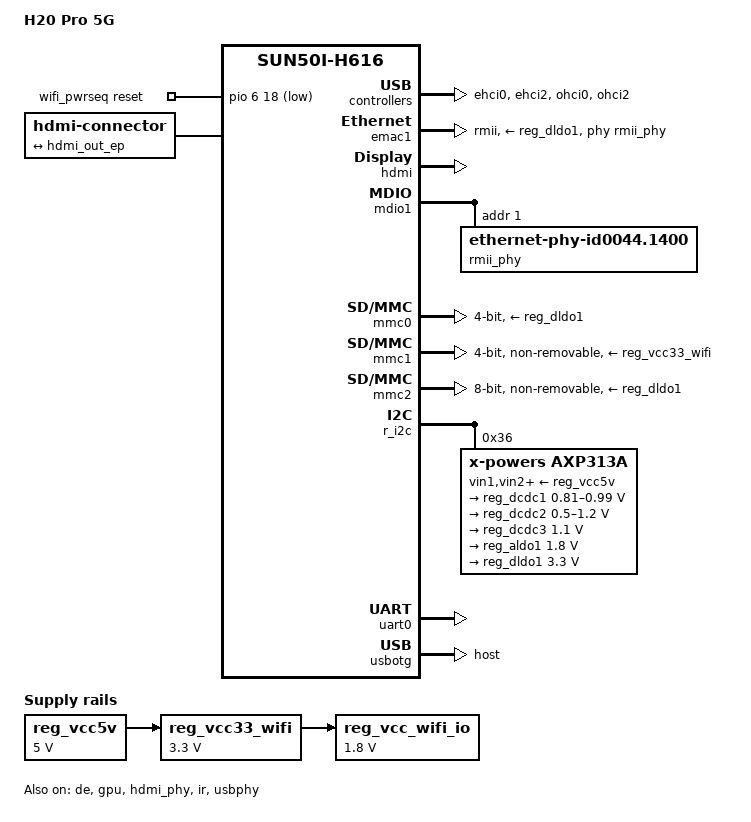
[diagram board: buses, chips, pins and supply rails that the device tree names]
// SPDX-License-Identifier: (GPL-2.0+ OR MIT)
/*
 * Copyright (C) 2024 Armbian
 * H20 Pro 5G Board - Based on Allwinner H616
 */

/dts-v1/;

#include "sun50i-h616.dtsi"
#include "sun50i-h616-cpu-opp.dtsi"
#include <dt-bindings/gpio/gpio.h>
#include <dt-bindings/interrupt-controller/arm-gic.h>
#include <dt-bindings/leds/common.h>

/ {
	model = "H20 Pro 5G";
	compatible = "hechuang,h20-pro-5g", "allwinner,sun50i-h616";

	aliases {
		ethernet0 = &emac1;
		serial0 = &uart0;
	};

	chosen {
		stdout-path = "serial0:115200n8";
	};

	reg_vcc5v: regulator-vcc5v {
		compatible = "regulator-fixed";
		regulator-name = "vcc-5v";
		regulator-min-microvolt = <5000000>;
		regulator-max-microvolt = <5000000>;
		regulator-always-on;
	};

	reg_vcc33_wifi: vcc33-wifi {
		compatible = "regulator-fixed";
		regulator-name = "vcc33-wifi";
		regulator-min-microvolt = <3300000>;
		regulator-max-microvolt = <3300000>;
		regulator-always-on;
		vin-supply = <&reg_vcc5v>;
	};

	reg_vcc_wifi_io: vcc-wifi-io {
		compatible = "regulator-fixed";
		regulator-name = "vcc-wifi-io";
		regulator-min-microvolt = <1800000>;
		regulator-max-microvolt = <1800000>;
		regulator-always-on;
		vin-supply = <&reg_vcc33_wifi>;
	};

	wifi_pwrseq: wifi-pwrseq {
		compatible = "mmc-pwrseq-simple";
		clocks = <&rtc 1>;
		clock-names = "osc32k-out";
		reset-gpios = <&pio 6 18 GPIO_ACTIVE_LOW>; /* PG18 */
		post-power-on-delay-ms = <200>;
	};

	hdmi-connector {
		compatible = "hdmi-connector";
		type = "a";

		port {
			hdmi_con_in: endpoint {
				remote-endpoint = <&hdmi_out_ep>;
			};
		};
	};
};

&cpu0 {
	cpu-supply = <&reg_dcdc2>;
};

&de {
	status = "okay";
};

&ehci0 {
	status = "okay";
};

&ehci2 {
	status = "okay";
};

&emac1 {
	compatible = "allwinner,sun50i-h616-emac", "allwinner,sunxi-gmac";
	syscon = <&syscon 1>;
	reg = <0x05030000 0x10000>, <0x03000034 0x4>;
	reg-names = "gmac1_reg", "ephy_reg";
	clocks = <&ccu CLK_BUS_EMAC1>;
	clock-names = "stmmaceth";
	pinctrl-names = "default";
	pinctrl-0 = <&rmii_pins>;
	phy-mode = "rmii";
	phy-handle = <&rmii_phy>;
	phy-supply = <&reg_dldo1>;
	allwinner,tx-delay-ps = <700>;
	allwinner,rx-delay-ps = <3100>;
	status = "okay";
};

&gpu {
	mali-supply = <&reg_dcdc1>;
	status = "okay";
};

&hdmi {
	hvcc-supply = <&reg_aldo1>;
	status = "okay";
};

&hdmi_phy {
	hvcc-supply = <&reg_aldo1>;
	status = "okay";
};

&hdmi_out {
	hdmi_out_ep: endpoint {
		remote-endpoint = <&hdmi_con_in>;
	};
};

&ir {
	status = "okay";
};

&mdio1 {
	rmii_phy: ethernet-phy@1 {
		compatible = "ethernet-phy-id0044.1400", "ethernet-phy-ieee802.3-c22";
		reg = <1>;
	};
};

&mmc0 {
	vmmc-supply = <&reg_dldo1>;
	vqmmc-supply = <&reg_dldo1>;
	broken-cd;
	bus-width = <4>;
	status = "okay";
};

&mmc1 {
	vmmc-supply = <&reg_vcc33_wifi>;
	vqmmc-supply = <&reg_vcc_wifi_io>;
	mmc-pwrseq = <&wifi_pwrseq>;
	bus-width = <4>;
	non-removable;
	mmc-ddr-1_8v;
	status = "okay";
};

&mmc2 {
	vmmc-supply = <&reg_dldo1>;
	vqmmc-supply = <&reg_aldo1>;
	bus-width = <8>;
	non-removable;
	cap-mmc-hw-reset;
	mmc-ddr-1_8v;
	mmc-hs200-1_8v;
	status = "okay";
};

&ohci0 {
	status = "okay";
};

&ohci2 {
	status = "okay";
};

&pio {
	vcc-pa-supply = <&reg_dldo1>;
	vcc-pc-supply = <&reg_dldo1>;
	vcc-pf-supply = <&reg_dldo1>;
	vcc-pg-supply = <&reg_aldo1>;
	vcc-ph-supply = <&reg_dldo1>;
	vcc-pi-supply = <&reg_dldo1>;
};

&r_i2c {
	status = "okay";

	axp313a: pmic@36 {
		compatible = "x-powers,axp313a";
		reg = <0x36>;

		vin1-supply = <&reg_vcc5v>;
		vin2-supply = <&reg_vcc5v>;
		vin3-supply = <&reg_vcc5v>;

		regulators {
			reg_dcdc1: dcdc1 {
				regulator-name = "vdd-gpu-sys";
				regulator-min-microvolt = <810000>;
				regulator-max-microvolt = <990000>;
				regulator-step-delay-us = <25>;
				regulator-final-delay-us = <50>;
				regulator-always-on;
			};

			reg_dcdc2: dcdc2 {
				regulator-name = "vdd-cpu";
				regulator-min-microvolt = <500000>;
				regulator-max-microvolt = <1200000>;
				regulator-step-delay-us = <25>;
				regulator-final-delay-us = <50>;
				regulator-ramp-delay = <200>;
				regulator-always-on;
			};

			reg_dcdc3: dcdc3 {
				regulator-name = "vdd-dram";
				regulator-min-microvolt = <1100000>;
				regulator-max-microvolt = <1100000>;
				regulator-step-delay-us = <25>;
				regulator-final-delay-us = <50>;
				regulator-always-on;
			};

			reg_aldo1: aldo1 {
				regulator-name = "vcc-1v8-pll";
				regulator-min-microvolt = <1800000>;
				regulator-max-microvolt = <1800000>;
				regulator-step-delay-us = <25>;
				regulator-final-delay-us = <50>;
				regulator-always-on;
			};

			reg_dldo1: dldo1 {
				regulator-name = "vcc-3v3-io";
				regulator-min-microvolt = <3300000>;
				regulator-max-microvolt = <3300000>;
				regulator-step-delay-us = <25>;
				regulator-final-delay-us = <50>;
				regulator-always-on;
			};
		};
	};
};

&uart0 {
	pinctrl-names = "default";
	pinctrl-0 = <&uart0_ph_pins>;
	status = "okay";
};

&usbotg {
	dr_mode = "host";
	status = "okay";
};

&usbphy {
	usb0_vbus-supply = <&reg_vcc5v>;
	usb1_vbus-supply = <&reg_vcc5v>;
	status = "okay";
};
